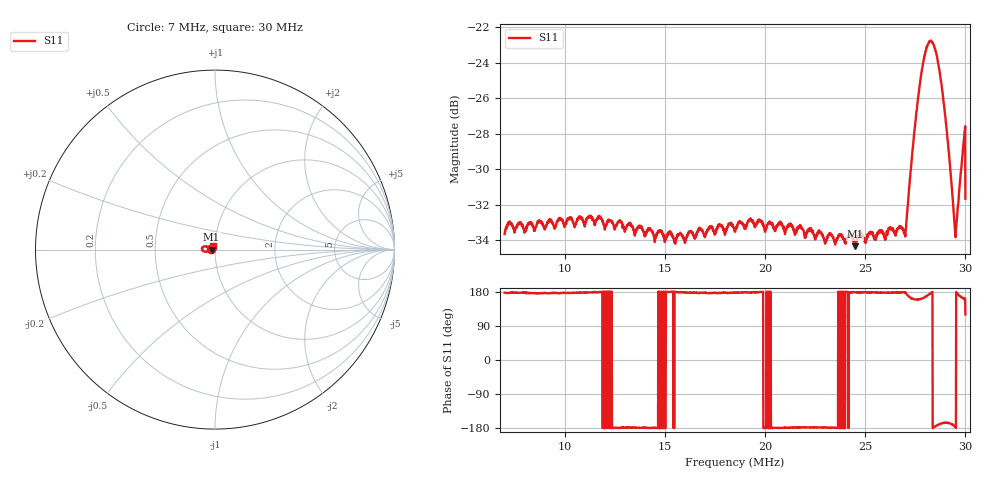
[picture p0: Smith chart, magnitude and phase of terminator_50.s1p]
! Touchstone file generated by AntScope2
# MHz Z RI R 50
! Format: Frequency Z-real Z-imaginary (normalized to 50 Ohm)
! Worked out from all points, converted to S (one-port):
!   2001 points, 7 MHz to 30 MHz, reference 50 ohm
!   lowest |S11| = -34.3 dB at 24.49 MHz (marker M1), VSWR 1.04, Z = 48.1 + j0.05 ohm
!   |S11| at or under -10 dB: start of sweep to end of sweep
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7  0.9594 0.0016
7.253  0.956 0.0018
8.0235  0.9586 0.0012
9.875  0.9558 0.0022
12.75  0.9556 -0.0006
15.625  0.9598 0.001
18.5  0.9588 0.0014
19.259  0.9552 0.0014
21.375  0.9574 -0.0012
22.732  0.9588 -0.0014
23.008  0.9616 -0.0016
24.25  0.9594 0.0008
24.4915  0.9624 0.001
24.756  0.9594 0.0008
26.9295  0.959 0.0006
27.033  0.958 0.0022
27.125  0.952 0.0078
27.4355  0.9278 0.0252
27.723  0.901 0.033
27.9875  0.8772 0.0282
28.229  0.865 0.0114
28.482  0.871 -0.0092
28.7695  0.895 -0.021
29.0685  0.924 -0.0186
29.471  0.958 -0.0036
29.586  0.9546 0.003
29.8735  0.9332 0.0186
30  0.9732 0.044
